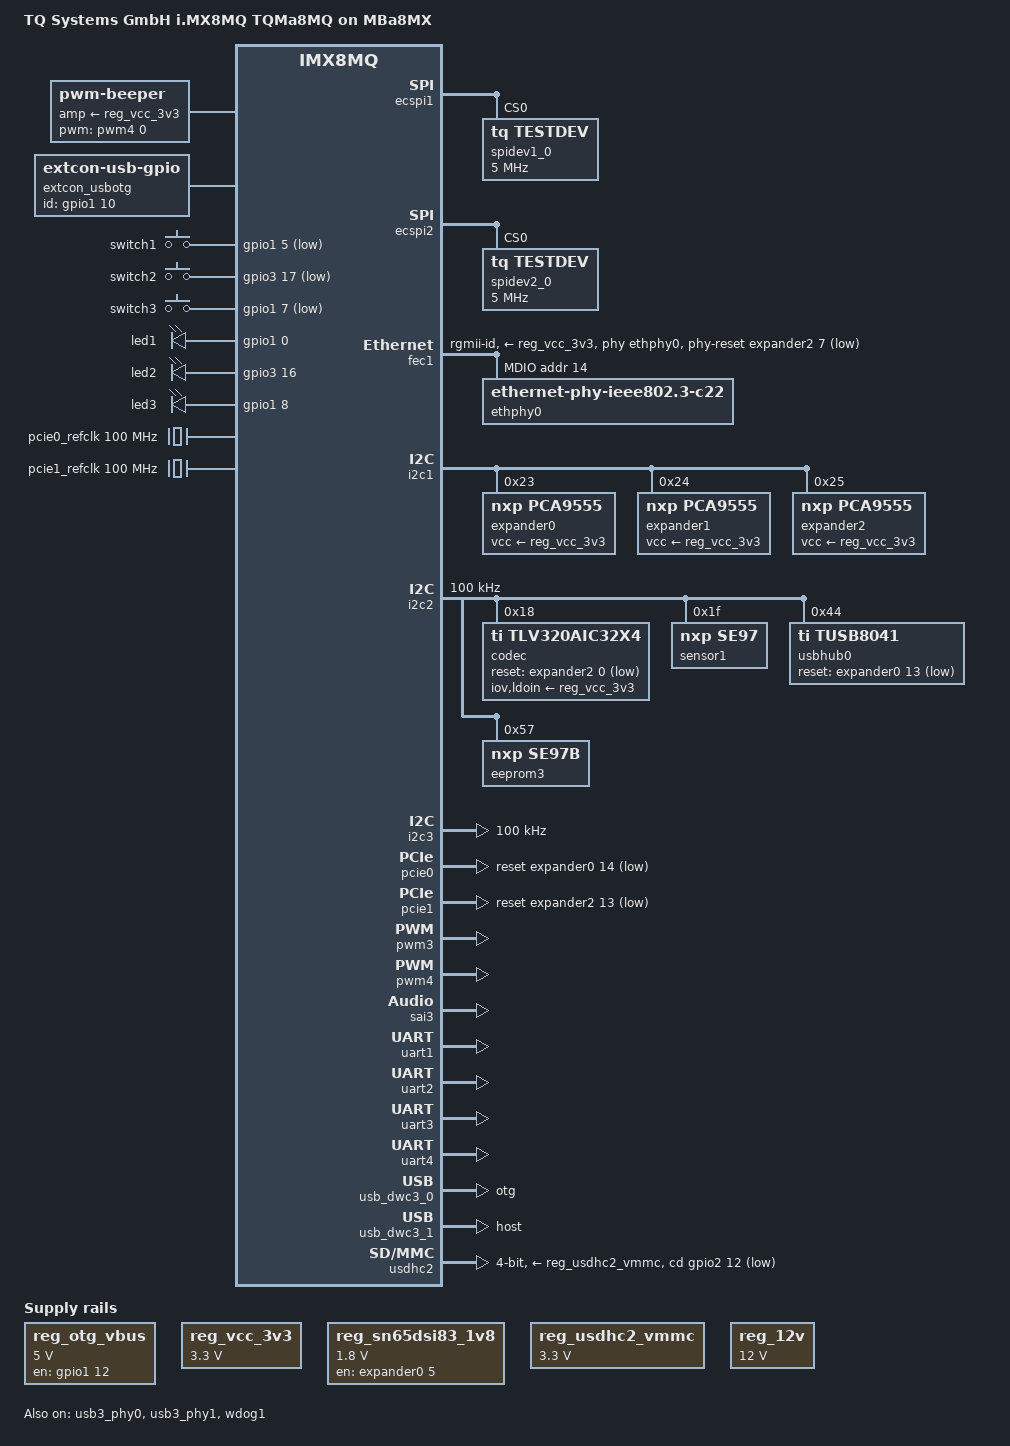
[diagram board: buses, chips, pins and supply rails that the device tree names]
// SPDX-License-Identifier: (GPL-2.0-or-later OR MIT)
/*
 * Copyright 2019-2021 TQ-Systems GmbH
 */

#include <dt-bindings/net/ti-dp83867.h>

/ {
	model = "TQ Systems GmbH i.MX8MQ TQMa8MQ on MBa8MX";
	compatible = "tq,imx8mq-mba8mx", "tq,imx8mq-tqma8mq", "fsl,imx8mq";

	backlight_lvds0: backlight0 {
		compatible = "pwm-backlight";
		pwms = <&pwm3 0 5000000>;
		brightness-levels = <0 4 8 16 32 64 128 255>;
		default-brightness-level = <7>;
		power-supply = <&reg_12v>;
		enable-gpios = <&expander2 2 GPIO_ACTIVE_HIGH>;
		status = "disabled";
	};

	beeper {
		compatible = "pwm-beeper";
		pwms = <&pwm4 0 250000 0>;
		beeper-hz = <4000>;
		amp-supply = <&reg_vcc_3v3>;
		status = "okay";
	};

	chosen {
		bootargs = "console=ttymxc2,115200 earlycon=ec_imx6q,0x30880000,115200";
		stdout-path = &uart3;
	};

	extcon_usbotg: extcon-usbotg0 {
		compatible = "linux,extcon-usb-gpio";
		pinctrl-names = "default";
		pinctrl-0 = <&pinctrl_usbcon0>;
		id-gpio = <&gpio1 10 GPIO_ACTIVE_HIGH>;
	};

	gpio-keys {
		compatible = "gpio-keys";
		pinctrl-names = "default";
		pinctrl-0 = <&pinctrl_gpiobutton>;
		autorepeat;

		switch1 {
			label = "switch1";
			linux,code = <BTN_0>;
			gpios = <&gpio1 5 GPIO_ACTIVE_LOW>;
			wakeup-source;
		};

		switch2 {
			label = "switch2";
			linux,code = <BTN_1>;
			gpios = <&gpio3 17 GPIO_ACTIVE_LOW>;
			wakeup-source;
		};

		switch3 {
			label = "switch3";
			linux,code = <BTN_2>;
			gpios = <&gpio1 7 GPIO_ACTIVE_LOW>;
			wakeup-source;
		};
	};

	gpio-leds {
		compatible = "gpio-leds";
		pinctrl-names = "default";
		pinctrl-0 = <&pinctrl_gpioled>;
		status = "okay";

		led1 {
			label = "led1";
			gpios = <&gpio1 0 GPIO_ACTIVE_HIGH>;
			linux,default-trigger = "default-on";
		};

		led2 {
			label = "led2";
			gpios = <&gpio3 16 GPIO_ACTIVE_HIGH>;
			linux,default-trigger = "heartbeat";
		};

		led3 {
			label = "led3";
			gpios = <&gpio1 8 GPIO_ACTIVE_HIGH>;
		};
	};

	panel0: panel_lvds0 {
		backlight = <&backlight_lvds0>;
		/* power-supply = <&reg_mba8mq_12v>; */
		status = "disabled";

		port {
			panel_in_lvds0: endpoint {
				remote-endpoint = <&lvds_bridge_out>;
			};
		};
	};

	pcie0_refclk: pcie0-refclk {
		compatible = "fixed-clock";
		#clock-cells = <0>;
		clock-frequency = <100000000>;
	};

	pcie1_refclk: pcie1-refclk {
		compatible = "fixed-clock";
		#clock-cells = <0>;
		clock-frequency = <100000000>;
	};

	reg_otg_vbus: regulator-otg-vbus {
		compatible = "regulator-fixed";
		pinctrl-names = "default";
		pinctrl-0 = <&pinctrl_regotgvbus>;
		regulator-name = "MBA8MQ_OTG_VBUS";
		regulator-min-microvolt = <5000000>;
		regulator-max-microvolt = <5000000>;
		gpio = <&gpio1 12 GPIO_ACTIVE_HIGH>;
		enable-active-high;
	};

	reg_vcc_3v3: regulator-3v3 {
		compatible = "regulator-fixed";
		regulator-name = "MBA8MQ_3V3";
		regulator-min-microvolt = <3300000>;
		regulator-max-microvolt = <3300000>;
	};

	reg_sn65dsi83_1v8: regulator-sn65dsi83-1v8 {
		compatible = "regulator-fixed";
		regulator-name = "SN65DSI83_1V8";
		regulator-min-microvolt = <1800000>;
		regulator-max-microvolt = <1800000>;
		gpio = <&expander0 5 GPIO_ACTIVE_HIGH>;
		enable-active-high;
	};

	reg_usdhc2_vmmc: regulator-vmmc {
		compatible = "regulator-fixed";
		regulator-name = "VSD_3V3";
		regulator-min-microvolt = <3300000>;
		regulator-max-microvolt = <3300000>;
	};

	reg_12v: regulator-12v {
		compatible = "regulator-fixed";
		regulator-name = "MBA8MQ_12V";
		regulator-min-microvolt = <12000000>;
		regulator-max-microvolt = <12000000>;
		regulator-always-on;
	};

	sound {
		compatible = "fsl,imx-audio-tlv320aic32x4";
		model = "mba8mx-tlv320aic32";
		ssi-controller = <&sai3>;
		audio-codec = <&codec>;
	};
};

&ecspi1 {
	pinctrl-names = "default";
	pinctrl-0 = <&pinctrl_ecspi1>;
	num-cs = <1>;
	status = "okay";

	spidev1_0: spidev1@0 {
		reg = <0>;
		compatible = "tq,testdev";
		spi-max-frequency = <5000000>;
		status = "okay";
	};
};

&ecspi2 {
	pinctrl-names = "default";
	pinctrl-0 = <&pinctrl_ecspi2>;
	num-cs = <1>;
	status = "okay";

	spidev2_0: spidev2@0 {
		reg = <0>;
		compatible = "tq,testdev";
		spi-max-frequency = <5000000>;
		status = "okay";
	};
};

&fec1 {
	pinctrl-names = "default";
	pinctrl-0 = <&pinctrl_fec1>;
	phy-mode = "rgmii-id";
	phy-handle = <&ethphy0>;
	phy-supply = <&reg_vcc_3v3>;
	fsl,magic-packet;
	phy-reset-gpios = <&expander2 7 GPIO_ACTIVE_LOW>;
	phy-reset-duration = <500>;
	mac-address = [ 00 00 00 00 00 00 ];
	status = "okay";

	mdio {
		#address-cells = <1>;
		#size-cells = <0>;

		ethphy0: ethernet-phy@e {
			compatible = "ethernet-phy-ieee802.3-c22";
			reg = <0xe>;
			ti,rx-internal-delay = <DP83867_RGMIIDCTL_2_50_NS>;
			ti,tx-internal-delay = <DP83867_RGMIIDCTL_2_50_NS>;
			ti,fifo-depth = <DP83867_PHYCR_FIFO_DEPTH_4_B_NIB>;
			ti,dp83867-rxctrl-strap-quirk;
			ti,clk-output-sel = <DP83867_CLK_O_SEL_OFF>;
			enet-phy-lane-no-swap;
			/* LED0: Link, LED2: activity */
			ti,led-function = <0x0100>;
			/* active low, LED0/2 driven by phy */
			ti,led-ctrl = <0x1010>;
		};
	};
};

&iomuxc {
	pinctrl_ecspi1: ecspi1grp {
		fsl,pins = <
			MX8MQ_IOMUXC_ECSPI1_SCLK_ECSPI1_SCLK	0x0000004e
			MX8MQ_IOMUXC_ECSPI1_MOSI_ECSPI1_MOSI	0x0000004e
			MX8MQ_IOMUXC_ECSPI1_MISO_ECSPI1_MISO	0x0000004e
			MX8MQ_IOMUXC_ECSPI1_SS0_ECSPI1_SS0	0x0000004e
		>;
	};

	pinctrl_ecspi2: ecspi2grp {
		fsl,pins = <
			MX8MQ_IOMUXC_ECSPI2_SCLK_ECSPI2_SCLK	0x0000004e
			MX8MQ_IOMUXC_ECSPI2_MOSI_ECSPI2_MOSI	0x0000004e
			MX8MQ_IOMUXC_ECSPI2_MISO_ECSPI2_MISO	0x0000004e
			MX8MQ_IOMUXC_ECSPI2_SS0_ECSPI2_SS0	0x0000004e
		>;
	};

	pinctrl_fec1: fec1grp {
		fsl,pins = <
			MX8MQ_IOMUXC_ENET_MDC_ENET1_MDC		0x3
			MX8MQ_IOMUXC_ENET_MDIO_ENET1_MDIO	0x23
			MX8MQ_IOMUXC_ENET_TD3_ENET1_RGMII_TD3	0x1f
			MX8MQ_IOMUXC_ENET_TD2_ENET1_RGMII_TD2	0x1f
			MX8MQ_IOMUXC_ENET_TD1_ENET1_RGMII_TD1	0x1f
			MX8MQ_IOMUXC_ENET_TD0_ENET1_RGMII_TD0	0x1f
			MX8MQ_IOMUXC_ENET_RD3_ENET1_RGMII_RD3	0x91
			MX8MQ_IOMUXC_ENET_RD2_ENET1_RGMII_RD2	0x91
			MX8MQ_IOMUXC_ENET_RD1_ENET1_RGMII_RD1	0x91
			MX8MQ_IOMUXC_ENET_RD0_ENET1_RGMII_RD0	0x91
			MX8MQ_IOMUXC_ENET_TXC_ENET1_RGMII_TXC	0x1f
			MX8MQ_IOMUXC_ENET_RXC_ENET1_RGMII_RXC	0x91
			MX8MQ_IOMUXC_ENET_RX_CTL_ENET1_RGMII_RX_CTL	0x91
			MX8MQ_IOMUXC_ENET_TX_CTL_ENET1_RGMII_TX_CTL	0x1f
		>;
	};

	pinctrl_gpiobutton: gpiobuttongrp {
		fsl,pins = <
			MX8MQ_IOMUXC_GPIO1_IO05_GPIO1_IO5	0x41
			MX8MQ_IOMUXC_GPIO1_IO07_GPIO1_IO7	0x41
			MX8MQ_IOMUXC_NAND_WE_B_GPIO3_IO17	0x41
		>;
	};

	pinctrl_gpioled: gpioledgrp {
		fsl,pins = <
			MX8MQ_IOMUXC_GPIO1_IO00_GPIO1_IO0	0x41
			MX8MQ_IOMUXC_GPIO1_IO08_GPIO1_IO8	0x41
			MX8MQ_IOMUXC_NAND_READY_B_GPIO3_IO16	0x41
		>;
	};

	pinctrl_i2c2: i2c2grp {
		fsl,pins = <
			MX8MQ_IOMUXC_I2C2_SCL_I2C2_SCL		0x40000067
			MX8MQ_IOMUXC_I2C2_SDA_I2C2_SDA		0x40000067
		>;
	};

	pinctrl_i2c3: i2c3grp {
		fsl,pins = <
			MX8MQ_IOMUXC_I2C3_SCL_I2C3_SCL		0x40000067
			MX8MQ_IOMUXC_I2C3_SDA_I2C3_SDA		0x40000067
		>;
	};

	pinctrl_pwm3: pwm3grp {
		fsl,pins = <
			MX8MQ_IOMUXC_GPIO1_IO14_PWM3_OUT	0x16
		>;
	};

	pinctrl_pwm4: pwm4grp {
		fsl,pins = <
			MX8MQ_IOMUXC_GPIO1_IO15_PWM4_OUT	0x16
		>;
	};

	pinctrl_regotgvbus: reggotgvbusgrp {
		fsl,pins = <
			/* USB1 OTG PWR as GPIO */
			MX8MQ_IOMUXC_GPIO1_IO12_GPIO1_IO12	0x06
		>;
	};

	pinctrl_sai3: sai3grp {
		fsl,pins = <
			MX8MQ_IOMUXC_SAI3_MCLK_SAI3_MCLK	0xd6
			MX8MQ_IOMUXC_SAI3_RXC_SAI3_RX_BCLK	0xd6
			MX8MQ_IOMUXC_SAI3_RXFS_SAI3_RX_SYNC	0xd6
			MX8MQ_IOMUXC_SAI3_RXD_SAI3_RX_DATA0	0xd6
			MX8MQ_IOMUXC_SAI3_TXFS_SAI3_TX_SYNC	0xd6
			MX8MQ_IOMUXC_SAI3_TXD_SAI3_TX_DATA0	0xd6
			MX8MQ_IOMUXC_SAI3_TXC_SAI3_TX_BCLK	0xd6
		>;
	};

	pinctrl_uart1: uart1grp {
		fsl,pins = <
			MX8MQ_IOMUXC_UART1_RXD_UART1_DCE_RX	0x79
			MX8MQ_IOMUXC_UART1_TXD_UART1_DCE_TX	0x79
		>;
	};

	pinctrl_uart2: uart2grp {
		fsl,pins = <
			MX8MQ_IOMUXC_UART2_RXD_UART2_DCE_RX	0x79
			MX8MQ_IOMUXC_UART2_TXD_UART2_DCE_TX	0x79
		>;
	};

	pinctrl_uart3: uart3grp {
		fsl,pins = <
			MX8MQ_IOMUXC_UART3_RXD_UART3_DCE_RX	0x79
			MX8MQ_IOMUXC_UART3_TXD_UART3_DCE_TX	0x79
		>;
	};

	pinctrl_uart4: uart4grp {
		fsl,pins = <
			MX8MQ_IOMUXC_UART4_RXD_UART4_DCE_RX	0x79
			MX8MQ_IOMUXC_UART4_TXD_UART4_DCE_TX	0x79
		>;
	};

	pinctrl_usbcon0: usb0congrp {
		fsl,pins = <
			/* ID: floating / high: device, low: host -> use PU */
			MX8MQ_IOMUXC_GPIO1_IO10_GPIO1_IO10	0xe6
		>;
	};

	/*
	 * TODO: OC detection is not functional yet since signal is expected to
	 * be low active. HW on MBa8Mx has high active signalling
	 * See: https://community.nxp.com/message/1247228?commentID=1247228#comment-1247228
	 */
	pinctrl_usb0: usb0grp {
		fsl,pins = <
			MX8MQ_IOMUXC_GPIO1_IO13_USB1_OTG_OC	0x01
		>;
	};

	pinctrl_usdhc2_gpio: usdhc2grpgpio {
		fsl,pins = <
			MX8MQ_IOMUXC_SD2_CD_B_GPIO2_IO12	0x41
		>;
	};

	pinctrl_usdhc2: usdhc2grp {
		fsl,pins = <
			MX8MQ_IOMUXC_SD2_CLK_USDHC2_CLK		0x83
			MX8MQ_IOMUXC_SD2_CMD_USDHC2_CMD		0xc3
			MX8MQ_IOMUXC_SD2_DATA0_USDHC2_DATA0	0xc3
			MX8MQ_IOMUXC_SD2_DATA1_USDHC2_DATA1	0xc3
			MX8MQ_IOMUXC_SD2_DATA2_USDHC2_DATA2	0xc3
			MX8MQ_IOMUXC_SD2_DATA3_USDHC2_DATA3	0xc3
			MX8MQ_IOMUXC_GPIO1_IO04_USDHC2_VSELECT	0xc1
		>;
	};

	pinctrl_usdhc2_100mhz: usdhc2grp100mhz {
		fsl,pins = <
			MX8MQ_IOMUXC_SD2_CLK_USDHC2_CLK		0x85
			MX8MQ_IOMUXC_SD2_CMD_USDHC2_CMD		0xc5
			MX8MQ_IOMUXC_SD2_DATA0_USDHC2_DATA0	0xc5
			MX8MQ_IOMUXC_SD2_DATA1_USDHC2_DATA1	0xc5
			MX8MQ_IOMUXC_SD2_DATA2_USDHC2_DATA2	0xc5
			MX8MQ_IOMUXC_SD2_DATA3_USDHC2_DATA3	0xc5
			MX8MQ_IOMUXC_GPIO1_IO04_USDHC2_VSELECT	0xc1
		>;
	};

	pinctrl_usdhc2_200mhz: usdhc2grp200mhz {
		fsl,pins = <
			MX8MQ_IOMUXC_SD2_CLK_USDHC2_CLK		0x9f
			MX8MQ_IOMUXC_SD2_CMD_USDHC2_CMD		0xc7
			MX8MQ_IOMUXC_SD2_DATA0_USDHC2_DATA0	0xc7
			MX8MQ_IOMUXC_SD2_DATA1_USDHC2_DATA1	0xc7
			MX8MQ_IOMUXC_SD2_DATA2_USDHC2_DATA2	0xc7
			MX8MQ_IOMUXC_SD2_DATA3_USDHC2_DATA3	0xc7
			MX8MQ_IOMUXC_GPIO1_IO04_USDHC2_VSELECT	0xc1
		>;
	};
};

&i2c1 {
	systemcontroller: syscon@11 {
		reg = <0x11>;
		status = "disabled";
	};

	expander0: gpio@23 {
		compatible = "nxp,pca9555";
		reg = <0x23>;
		gpio-controller;
		#gpio-cells = <2>;
		vcc-supply = <&reg_vcc_3v3>;

		sd-mux-oe {
			gpio-hog;
			gpios = <8 0>;
			output-low;
			line-name = "SD_MUX_EN#";
		};

		boot-cfg-oe {
			gpio-hog;
			gpios = <12 0>;
			output-high;
			line-name = "BOOT_CFG_OE#";
		};
	};

	expander1: gpio@24 {
		compatible = "nxp,pca9555";
		reg = <0x24>;
		gpio-controller;
		#gpio-cells = <2>;
		vcc-supply = <&reg_vcc_3v3>;
	};

	expander2: gpio@25 {
		compatible = "nxp,pca9555";
		reg = <0x25>;
		gpio-controller;
		#gpio-cells = <2>;
		vcc-supply = <&reg_vcc_3v3>;
	};
};

&i2c2 {
	clock-frequency = <100000>;
	pinctrl-names = "default";
	pinctrl-0 = <&pinctrl_i2c2>;
	status = "okay";

	codec: tlv320aic3x04@18 {
		compatible = "ti,tlv320aic32x4";
		reg = <0x18>;
		reset-gpios = <&expander2 0 GPIO_ACTIVE_LOW>;

		clocks = <&clk IMX8MQ_CLK_SAI3_ROOT>;
		clock-names = "mclk";

		status = "okay";
		iov-supply = <&reg_vcc_3v3>;
		ldoin-supply = <&reg_vcc_3v3>;
	};

	/*
	 * NXP SE97BTP with temperature sensor + eeprom
	 */
	sensor1: sensor@1f {
		compatible = "nxp,se97", "jedec,jc-42.4-temp";
		reg = <0x1f>;
	};

	usbhub0: usbhub@44 {
		compatible = "ti,tusb8041", "ti,tusb80xx";
		reg = <0x44>;
		reset-gpios = <&expander0 13 GPIO_ACTIVE_LOW>;
		status = "okay";
	};

	eeprom3: eeprom@57 {
		compatible = "nxp,se97b", "atmel,24c02";
		reg = <0x57>;
		pagesize = <16>;
	};

	/* PCIe CLK, should work without intervention */
	pciclk: clk@68 {
		reg = <0x68>;
		status = "disabled";
	};
};

&i2c3 {
	clock-frequency = <100000>;
	pinctrl-names = "default";
	pinctrl-0 = <&pinctrl_i2c3>;
	status = "okay";

	dsi_lvds_bridge: dsi-lvds-bridge@2d {
		compatible = "ti,sn65dsi83";
		reg = <0x2d>;
		enable-gpio = <&expander0 6 GPIO_ACTIVE_HIGH>;
		vcc1v8-supply = <&reg_sn65dsi83_1v8>;
		status = "disabled";

		ports {
			#address-cells = <1>;
			#size-cells = <0>;

			port@1 {
				reg = <1>;

				lvds_bridge_out: endpoint {
					remote-endpoint = <&panel_in_lvds0>;
				};
			};
		};
	};
};

&pcie0 {
	reset-gpio = <&expander0 14 GPIO_ACTIVE_LOW>;
	clocks = <&clk IMX8MQ_CLK_PCIE1_ROOT>,
		 <&clk IMX8MQ_CLK_PCIE1_AUX>,
		 <&clk IMX8MQ_CLK_PCIE1_PHY>,
		 <&pcie0_refclk>;
	clock-names = "pcie", "pcie_aux", "pcie_phy", "pcie_bus";
	epdev_on-supply = <&reg_vcc_3v3>;
	hard-wired = <1>;
	status = "okay";
};

&pcie1 {
	disable-gpio = <&expander2 12 GPIO_ACTIVE_LOW>;
	reset-gpio = <&expander2 13 GPIO_ACTIVE_LOW>;
	clocks = <&clk IMX8MQ_CLK_PCIE2_ROOT>,
		 <&clk IMX8MQ_CLK_PCIE2_AUX>,
		 <&clk IMX8MQ_CLK_PCIE2_PHY>,
		 <&pcie1_refclk>;
	clock-names = "pcie", "pcie_aux", "pcie_phy", "pcie_bus";
	epdev_on-supply = <&reg_vcc_3v3>;
	hard-wired = <1>;
	status = "okay";
};

&pwm3 {
	pinctrl-names = "default";
	pinctrl-0 = <&pinctrl_pwm3>;
	status = "okay";
};

&pwm4 {
	pinctrl-names = "default";
	pinctrl-0 = <&pinctrl_pwm4>;
	status = "okay";
};

&sai3 {
	pinctrl-names = "default";
	pinctrl-0 = <&pinctrl_sai3>;
	#sound-dai-cells = <0>;
	assigned-clocks = <&clk IMX8MQ_CLK_SAI3>;
	assigned-clock-parents = <&clk IMX8MQ_AUDIO_PLL1_OUT>;
	assigned-clock-rates = <49152000>;
	clocks = <&clk IMX8MQ_CLK_SAI3_IPG>, <&clk IMX8MQ_CLK_DUMMY>,
		<&clk IMX8MQ_CLK_SAI3_ROOT>, <&clk IMX8MQ_CLK_DUMMY>,
		<&clk IMX8MQ_CLK_DUMMY>, <&clk IMX8MQ_AUDIO_PLL1_OUT>,
		<&clk IMX8MQ_AUDIO_PLL2_OUT>;
	clock-names = "bus", "mclk0", "mclk1", "mclk2", "mclk3", "pll8k", "pll11k";
	status = "okay";
};

&uart1 {
	pinctrl-names = "default";
	pinctrl-0 = <&pinctrl_uart1>;
	assigned-clocks = <&clk IMX8MQ_CLK_UART1>;
	assigned-clock-parents = <&clk IMX8MQ_SYS1_PLL_80M>;
	status = "okay";
};

&uart2 {
	pinctrl-names = "default";
	pinctrl-0 = <&pinctrl_uart2>;
	assigned-clocks = <&clk IMX8MQ_CLK_UART2>;
	assigned-clock-parents = <&clk IMX8MQ_SYS1_PLL_80M>;
	status = "okay";
};

/* console */
&uart3 {
	pinctrl-names = "default";
	pinctrl-0 = <&pinctrl_uart3>;
	assigned-clocks = <&clk IMX8MQ_CLK_UART3>;
	assigned-clock-parents = <&clk IMX8MQ_CLK_25M>;
	status = "okay";
};

&uart4 {
	pinctrl-names = "default";
	pinctrl-0 = <&pinctrl_uart4>;
	assigned-clocks = <&clk IMX8MQ_CLK_UART4>;
	assigned-clock-parents = <&clk IMX8MQ_SYS1_PLL_80M>;
	status = "okay";
};

&usb3_phy0 {
	vbus-supply = <&reg_otg_vbus>;
	status = "okay";
};

&usb_dwc3_0 {
	/*
	 * TODO: OC not supported due to non matching active polarity
	 *	pinctrl-names = "default";
	 *	pinctrl-0 = <&pinctrl_usb0>;
	 */
	/*
	 * use extcon gpio OTG ID detection. Older versions of driver does not
	 * support OTG ID signal. Unclear which difference is between muxable
	 * and non muxable pin for ID
	 */
	extcon = <&extcon_usbotg>;
	/*
	 * TODO: sugested as workaround 1) for errata e11193, has to be investigated
	 */
	/* snps,dis_u2_susphy_quirk; */
	/* we implement dual role but not full featured OTG */
	hnp-disable;
	srp-disable;
	adp-disable;
	dr_mode = "otg";
	status = "okay";
};

&usb3_phy1 {
	status = "okay";
};

&usb_dwc3_1 {
	status = "okay";
	dr_mode = "host";
};

&usdhc2 {
	pinctrl-names = "default", "state_100mhz", "state_200mhz";
	pinctrl-0 = <&pinctrl_usdhc2>, <&pinctrl_usdhc2_gpio>;
	pinctrl-1 = <&pinctrl_usdhc2_100mhz>, <&pinctrl_usdhc2_gpio>;
	pinctrl-2 = <&pinctrl_usdhc2_200mhz>, <&pinctrl_usdhc2_gpio>;
	bus-width = <4>;
	cd-gpios = <&gpio2 12 GPIO_ACTIVE_LOW>;
	disable-wp;
	no-mmc;
	vmmc-supply = <&reg_usdhc2_vmmc>;
	status = "okay";
};

&wdog1 {
	pinctrl-names = "default";
	pinctrl-0 = <&pinctrl_wdog>;
	fsl,ext-reset-output;
	status = "okay";
};
